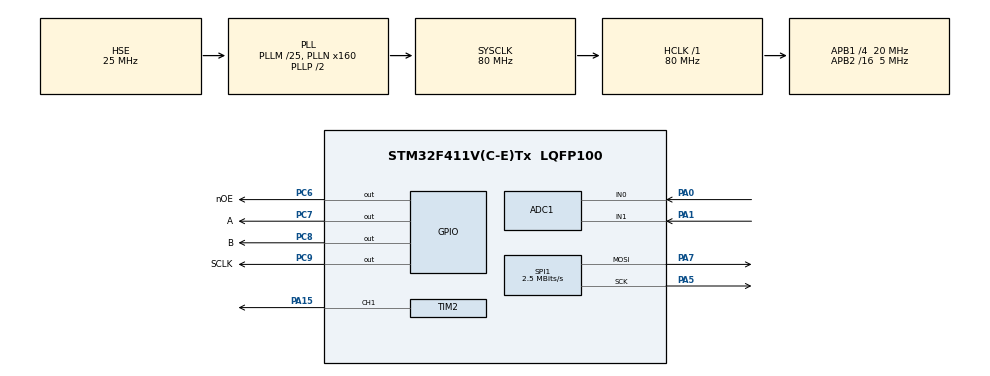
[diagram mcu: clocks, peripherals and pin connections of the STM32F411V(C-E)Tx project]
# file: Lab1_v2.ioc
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ADC1.Channel-2\#ChannelRegularConversion=ADC_CHANNEL_0
ADC1.Channel-4\#ChannelRegularConversion=ADC_CHANNEL_1
ADC1.ContinuousConvMode=DISABLE
ADC1.DMAContinuousRequests=ENABLE
ADC1.InjNumberOfConversion=0
ADC1.NbrOfConversion=2
ADC1.NbrOfConversionFlag=1
ADC1.Rank-2\#ChannelRegularConversion=1
ADC1.Rank-4\#ChannelRegularConversion=2
ADC1.SamplingTime-2\#ChannelRegularConversion=ADC_SAMPLETIME_3CYCLES
ADC1.SamplingTime-4\#ChannelRegularConversion=ADC_SAMPLETIME_3CYCLES
ADC1.ScanConvMode=ENABLE
ADC1.master=1
Dma.ADC1.0.Direction=DMA_PERIPH_TO_MEMORY
Dma.ADC1.0.FIFOMode=DMA_FIFOMODE_DISABLE
Dma.ADC1.0.Instance=DMA2_Stream4
Dma.ADC1.0.MemDataAlignment=DMA_MDATAALIGN_WORD
Dma.ADC1.0.MemInc=DMA_MINC_ENABLE
Dma.ADC1.0.Mode=DMA_CIRCULAR
Dma.ADC1.0.PeriphDataAlignment=DMA_PDATAALIGN_WORD
Dma.ADC1.0.PeriphInc=DMA_PINC_DISABLE
Dma.ADC1.0.Priority=DMA_PRIORITY_LOW
Dma.Request0=ADC1
Mcu.Family=STM32F4
Mcu.Name=STM32F411V(C-E)Tx
Mcu.Package=LQFP100
NVIC.DMA2_Stream4_IRQn=true\:0\:0\:false\:false\:true\:false\:true\:true
NVIC.PriorityGroup=NVIC_PRIORITYGROUP_4
NVIC.TIM2_IRQn=true\:0\:0\:false\:false\:true\:true\:true\:true
PA0-WKUP.Signal=ADCx_IN0
PA1.Signal=ADCx_IN1
PA13.Mode=Serial_Wire
PA13.Signal=SYS_JTMS-SWDIO
PA14.Mode=Serial_Wire
PA14.Signal=SYS_JTCK-SWCLK
PA15.Signal=S_TIM2_CH1_ETR
PA5.Mode=TX_Only_Simplex_Unidirect_Master
PA5.Signal=SPI1_SCK
PA7.Mode=TX_Only_Simplex_Unidirect_Master
PA7.Signal=SPI1_MOSI
PC6.GPIO_Label=nOE
PC6.Signal=GPIO_Output
PC7.GPIO_Label=A
PC7.Signal=GPIO_Output
PC8.GPIO_Label=B
PC8.Signal=GPIO_Output
PC9.GPIO_Label=SCLK
PC9.Signal=GPIO_Output
PH0\ -\ OSC_IN.Mode=HSE-External-Oscillator
PH0\ -\ OSC_IN.Signal=RCC_OSC_IN
PH1\ -\ OSC_OUT.Mode=HSE-External-Oscillator
PH1\ -\ OSC_OUT.Signal=RCC_OSC_OUT
ProjectManager.HeapSize=0x200
ProjectManager.StackSize=0x400
ProjectManager.TargetToolchain=MDK-ARM V5.32
RCC.48MHZClocksFreq_Value=40000000
RCC.AHBFreq_Value=80000000
RCC.APB1CLKDivider=RCC_HCLK_DIV4
RCC.APB1Freq_Value=20000000
RCC.APB1TimFreq_Value=40000000
RCC.APB2CLKDivider=RCC_HCLK_DIV16
RCC.APB2Freq_Value=5000000
RCC.APB2TimFreq_Value=10000000
RCC.CortexFreq_Value=80000000
RCC.HCLKFreq_Value=80000000
RCC.HSE_VALUE=25000000
RCC.HSI_VALUE=16000000
RCC.LSE_VALUE=32768
RCC.PLLM=25
RCC.PLLN=160
RCC.PLLSourceVirtual=RCC_PLLSOURCE_HSE
RCC.SYSCLKFreq_VALUE=80000000
RCC.SYSCLKSource=RCC_SYSCLKSOURCE_PLLCLK
RCC.VCOOutputFreq_Value=160000000
SH.ADCx_IN0.0=ADC1_IN0,IN0
SH.ADCx_IN1.0=ADC1_IN1,IN1
SH.S_TIM2_CH1_ETR.0=TIM2_CH1,PWM Generation1 CH1
SPI1.CalculateBaudRate=2.5 MBits/s
SPI1.Direction=SPI_DIRECTION_2LINES
SPI1.Mode=SPI_MODE_MASTER
SPI1.VirtualType=VM_MASTER
TIM2.Channel-PWM\ Generation1\ CH1=TIM_CHANNEL_1
TIM2.Period=1000-1
TIM2.Prescaler=100-1
VP_TIM2_VS_ClockSourceINT.Mode=Internal
board=custom

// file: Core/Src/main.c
/* USER CODE BEGIN Header */
/**
  ******************************************************************************
  * @file           : main.c
  * @brief          : Main program body
  ******************************************************************************
  * @attention
  *
  * Copyright (c) 2023 STMicroelectronics.
  * All rights reserved.
  *
  * This software is licensed under terms that can be found in the LICENSE file
  * in the root directory of this software component.
  * If no LICENSE file comes with this software, it is provided AS-IS.
  *
  ******************************************************************************
  */
/* USER CODE END Header */
#include "main.h"

/* USER CODE BEGIN Includes */
#include "P10.h"
/* USER CODE END Includes */

/* USER CODE BEGIN PTD */
Pixel pix[20];
uint8_t data1[16], flag;
int8_t rad = 2;
uint32_t joy_data[3] = {0,};
uint32_t joy_x;
uint32_t joy_y;
int8_t count_x = 0, count_y = 0;
/* USER CODE END PTD */

ADC_HandleTypeDef hadc1;
DMA_HandleTypeDef hdma_adc1;

SPI_HandleTypeDef hspi1;

TIM_HandleTypeDef htim2;

void SystemClock_Config(void);
static void MX_GPIO_Init(void);
static void MX_DMA_Init(void);
static void MX_ADC1_Init(void);
static void MX_TIM2_Init(void);
static void MX_SPI1_Init(void);

/* USER CODE BEGIN 0 */
void delay(double_t time_delay)
{
    double_t i;
    for(i = 0; i < time_delay; i++);
}
/* USER CODE END 0 */

int main(void)
{
  /* USER CODE BEGIN 1 */
//	pix[0].x=4;
//	pix[0].y=3;
//	pix[1].x=4;
//	pix[1].y=4;
//	pix[2].x=6;
//	pix[2].y=3;
//	pix[3].x=3;
//	pix[3].y=4;
//	pix[4].x=3;
//	pix[4].y=5;
//	pix[5].x=3;
//	pix[5].y=6;
//	pix[6].x=7;
//	pix[6].y=4;
//	pix[7].x=7;
//	pix[7].y=5;
//	pix[8].x=7;
//	pix[8].y=6;
//	pix[9].x=4;
//	pix[9].y=7;
//	pix[10].x=5;
//	pix[10].y=7;
//	pix[11].x=6;
//	pix[11].y=7;

	pix[12].x=4;
	pix[12].y=4;

	pix[13].x=3;
	pix[13].y=3;
	pix[14].x=4;
	pix[15].y=1;

  /* USER CODE END 1 */

  /* MCU Configuration--------------------------------------------------------*/

  /* Reset of all peripherals, Initializes the Flash interface and the Systick. */
  HAL_Init();

  /* Configure the system clock */
  SystemClock_Config();

  /* Initialize all configured peripherals */
  MX_GPIO_Init();
  MX_DMA_Init();
  MX_ADC1_Init();
  MX_TIM2_Init();
  MX_SPI1_Init();
  /* USER CODE BEGIN 2 */
	HAL_ADC_Start(&hadc1);
	HAL_ADC_Start_DMA(&hadc1, (uint32_t*)&joy_data, 2);
	HAL_TIM_Base_Start_IT(&htim2);
//	HAL_TIM_PWM_Start(&htim2, TIM_CHANNEL_1);
  /* USER CODE END 2 */

  /* Infinite loop */
  /* USER CODE BEGIN WHILE */
  while (1)
  {
		clearScreen((uint8_t*)&data1);
		drawPixel(pix[13],(uint8_t*)&data1,P10AB_00);
		HAL_GPIO_WritePin(nOE_GPIO_Port, nOE_Pin, GPIO_PIN_RESET);
		HAL_GPIO_WritePin(A_GPIO_Port, A_Pin, GPIO_PIN_RESET);
		HAL_GPIO_WritePin(B_GPIO_Port, B_Pin, GPIO_PIN_RESET);
		HAL_GPIO_WritePin(SCLK_GPIO_Port, SCLK_Pin, GPIO_PIN_RESET);
		HAL_SPI_Transmit(&hspi1, (uint8_t*)&data1, 16, 10);
		HAL_GPIO_WritePin(SCLK_GPIO_Port, SCLK_Pin, GPIO_PIN_SET);
		HAL_GPIO_WritePin(nOE_GPIO_Port, nOE_Pin, GPIO_PIN_SET);
		HAL_Delay(1);

		clearScreen((uint8_t*)&data1);
		drawPixel(pix[13],(uint8_t*)&data1,P10AB_10);
		HAL_GPIO_WritePin(nOE_GPIO_Port, nOE_Pin, GPIO_PIN_RESET);
		HAL_GPIO_WritePin(A_GPIO_Port, A_Pin, GPIO_PIN_RESET);
		HAL_GPIO_WritePin(B_GPIO_Port, B_Pin, GPIO_PIN_SET);
		HAL_GPIO_WritePin(SCLK_GPIO_Port, SCLK_Pin, GPIO_PIN_RESET);
		HAL_SPI_Transmit(&hspi1, (uint8_t*)&data1, 16, 10);
		HAL_GPIO_WritePin(SCLK_GPIO_Port, SCLK_Pin, GPIO_PIN_SET);
		HAL_GPIO_WritePin(nOE_GPIO_Port, nOE_Pin, GPIO_PIN_SET);
		HAL_Delay(1);

		clearScreen((uint8_t*)&data1);
		drawPixel(pix[13],(uint8_t*)&data1,P10AB_01);
		HAL_GPIO_WritePin(nOE_GPIO_Port, nOE_Pin, GPIO_PIN_RESET);
		HAL_GPIO_WritePin(A_GPIO_Port, A_Pin, GPIO_PIN_SET);
		HAL_GPIO_WritePin(B_GPIO_Port, B_Pin, GPIO_PIN_RESET);
		HAL_GPIO_WritePin(SCLK_GPIO_Port, SCLK_Pin, GPIO_PIN_RESET);
		HAL_SPI_Transmit(&hspi1, (uint8_t*)&data1, 16, 10);
		HAL_GPIO_WritePin(SCLK_GPIO_Port, SCLK_Pin, GPIO_PIN_SET);
		HAL_GPIO_WritePin(nOE_GPIO_Port, nOE_Pin, GPIO_PIN_SET);
		HAL_Delay(1);

		clearScreen((uint8_t*)&data1);
		drawPixel(pix[13],(uint8_t*)&data1,P10AB_11);
		HAL_GPIO_WritePin(nOE_GPIO_Port, nOE_Pin, GPIO_PIN_RESET);
		HAL_GPIO_WritePin(A_GPIO_Port, A_Pin, GPIO_PIN_SET);
		HAL_GPIO_WritePin(B_GPIO_Port, B_Pin, GPIO_PIN_SET);
		HAL_GPIO_WritePin(SCLK_GPIO_Port, SCLK_Pin, GPIO_PIN_RESET);
		HAL_SPI_Transmit(&hspi1, (uint8_t*)&data1, 16, 10);
		HAL_GPIO_WritePin(SCLK_GPIO_Port, SCLK_Pin, GPIO_PIN_SET);
		HAL_GPIO_WritePin(nOE_GPIO_Port, nOE_Pin, GPIO_PIN_SET);
		HAL_Delay(1);

		if (joy_x>=4000) count_x += 1;
		if (joy_x<=800) count_x -=1;

		if (joy_y>=4000) count_y += 1;
		if (joy_y<=800) count_y -=1;

		if (count_x > 10)
		{
				pix[13].x += 1;
				count_x = 0;
		}

		if (count_x < -10)
		{
				pix[13].x -= 1;
				count_x = 0;
		}

		if (count_y > 10)
		{
				pix[13].y += 1;
				count_y = 0;
		}

		if (count_y < -10)
		{
				pix[13].y -= 1;
				count_y = 0;
		}

		if (pix[13].x > 32) pix[13].x = 1;
		if (pix[13].x < 1) pix[13].x = 32;
		if (pix[13].y > 16) pix[13].y = 1;
		if (pix[13].y < 1) pix[13].y = 16;

		if(flag)
		{
				flag = 0;
				HAL_ADC_Stop_DMA(&hadc1);
				joy_x = joy_data[0];
				joy_y = joy_data[1];
				joy_data[0] = 0;
				joy_data[1] = 0;
				HAL_ADC_Start_DMA(&hadc1, (uint32_t*)&joy_data, 2);
		}

    /* USER CODE END WHILE */

  }
}

void SystemClock_Config(void)
{
  RCC_OscInitTypeDef RCC_OscInitStruct = {0};
  RCC_ClkInitTypeDef RCC_ClkInitStruct = {0};

  /** Configure the main internal regulator output voltage
  */
  __HAL_RCC_PWR_CLK_ENABLE();
  __HAL_PWR_VOLTAGESCALING_CONFIG(PWR_REGULATOR_VOLTAGE_SCALE1);

  /** Initializes the RCC Oscillators according to the specified parameters
  * in the RCC_OscInitTypeDef structure.
  */
  RCC_OscInitStruct.OscillatorType = RCC_OSCILLATORTYPE_HSE;
  RCC_OscInitStruct.HSEState = RCC_HSE_ON;
  RCC_OscInitStruct.PLL.PLLState = RCC_PLL_ON;
  RCC_OscInitStruct.PLL.PLLSource = RCC_PLLSOURCE_HSE;
  RCC_OscInitStruct.PLL.PLLM = 25;
  RCC_OscInitStruct.PLL.PLLN = 160;
  RCC_OscInitStruct.PLL.PLLP = RCC_PLLP_DIV2;
  RCC_OscInitStruct.PLL.PLLQ = 4;
  if (HAL_RCC_OscConfig(&RCC_OscInitStruct) != HAL_OK)
  {
    Error_Handler();
  }

  /** Initializes the CPU, AHB and APB buses clocks
  */
  RCC_ClkInitStruct.ClockType = RCC_CLOCKTYPE_HCLK|RCC_CLOCKTYPE_SYSCLK
                              |RCC_CLOCKTYPE_PCLK1|RCC_CLOCKTYPE_PCLK2;
  RCC_ClkInitStruct.SYSCLKSource = RCC_SYSCLKSOURCE_PLLCLK;
  RCC_ClkInitStruct.AHBCLKDivider = RCC_SYSCLK_DIV1;
  RCC_ClkInitStruct.APB1CLKDivider = RCC_HCLK_DIV4;
  RCC_ClkInitStruct.APB2CLKDivider = RCC_HCLK_DIV16;

  if (HAL_RCC_ClockConfig(&RCC_ClkInitStruct, FLASH_LATENCY_2) != HAL_OK)
  {
    Error_Handler();
  }
}

static void MX_ADC1_Init(void)
{

  ADC_ChannelConfTypeDef sConfig = {0};

  /** Configure the global features of the ADC (Clock, Resolution, Data Alignment and number of conversion)
  */
  hadc1.Instance = ADC1;
  hadc1.Init.ClockPrescaler = ADC_CLOCK_SYNC_PCLK_DIV2;
  hadc1.Init.Resolution = ADC_RESOLUTION_12B;
  hadc1.Init.ScanConvMode = ENABLE;
  hadc1.Init.ContinuousConvMode = DISABLE;
  hadc1.Init.DiscontinuousConvMode = DISABLE;
  hadc1.Init.ExternalTrigConvEdge = ADC_EXTERNALTRIGCONVEDGE_NONE;
  hadc1.Init.ExternalTrigConv = ADC_SOFTWARE_START;
  hadc1.Init.DataAlign = ADC_DATAALIGN_RIGHT;
  hadc1.Init.NbrOfConversion = 2;
  hadc1.Init.DMAContinuousRequests = ENABLE;
  hadc1.Init.EOCSelection = ADC_EOC_SINGLE_CONV;
  if (HAL_ADC_Init(&hadc1) != HAL_OK)
  {
    Error_Handler();
  }

  /** Configure for the selected ADC regular channel its corresponding rank in the sequencer and its sample time.
  */
  sConfig.Channel = ADC_CHANNEL_0;
  sConfig.Rank = 1;
  sConfig.SamplingTime = ADC_SAMPLETIME_3CYCLES;
  if (HAL_ADC_ConfigChannel(&hadc1, &sConfig) != HAL_OK)
  {
    Error_Handler();
  }

  /** Configure for the selected ADC regular channel its corresponding rank in the sequencer and its sample time.
  */
  sConfig.Channel = ADC_CHANNEL_1;
  sConfig.Rank = 2;
  if (HAL_ADC_ConfigChannel(&hadc1, &sConfig) != HAL_OK)
  {
    Error_Handler();
  }

}

static void MX_SPI1_Init(void)
{

  /* SPI1 parameter configuration*/
  hspi1.Instance = SPI1;
  hspi1.Init.Mode = SPI_MODE_MASTER;
  hspi1.Init.Direction = SPI_DIRECTION_2LINES;
  hspi1.Init.DataSize = SPI_DATASIZE_8BIT;
  hspi1.Init.CLKPolarity = SPI_POLARITY_LOW;
  hspi1.Init.CLKPhase = SPI_PHASE_1EDGE;
  hspi1.Init.NSS = SPI_NSS_SOFT;
  hspi1.Init.BaudRatePrescaler = SPI_BAUDRATEPRESCALER_2;
  hspi1.Init.FirstBit = SPI_FIRSTBIT_MSB;
  hspi1.Init.TIMode = SPI_TIMODE_DISABLE;
  hspi1.Init.CRCCalculation = SPI_CRCCALCULATION_DISABLE;
  hspi1.Init.CRCPolynomial = 10;
  if (HAL_SPI_Init(&hspi1) != HAL_OK)
  {
    Error_Handler();
  }

}

static void MX_TIM2_Init(void)
{

  TIM_ClockConfigTypeDef sClockSourceConfig = {0};
  TIM_MasterConfigTypeDef sMasterConfig = {0};
  TIM_OC_InitTypeDef sConfigOC = {0};

  htim2.Instance = TIM2;
  htim2.Init.Prescaler = 100-1;
  htim2.Init.CounterMode = TIM_COUNTERMODE_UP;
  htim2.Init.Period = 1000-1;
  htim2.Init.ClockDivision = TIM_CLOCKDIVISION_DIV1;
  htim2.Init.AutoReloadPreload = TIM_AUTORELOAD_PRELOAD_DISABLE;
  if (HAL_TIM_Base_Init(&htim2) != HAL_OK)
  {
    Error_Handler();
  }
  sClockSourceConfig.ClockSource = TIM_CLOCKSOURCE_INTERNAL;
  if (HAL_TIM_ConfigClockSource(&htim2, &sClockSourceConfig) != HAL_OK)
  {
    Error_Handler();
  }
  if (HAL_TIM_PWM_Init(&htim2) != HAL_OK)
  {
    Error_Handler();
  }
  sMasterConfig.MasterOutputTrigger = TIM_TRGO_RESET;
  sMasterConfig.MasterSlaveMode = TIM_MASTERSLAVEMODE_DISABLE;
  if (HAL_TIMEx_MasterConfigSynchronization(&htim2, &sMasterConfig) != HAL_OK)
  {
    Error_Handler();
  }
  sConfigOC.OCMode = TIM_OCMODE_PWM1;
  sConfigOC.Pulse = 0;
  sConfigOC.OCPolarity = TIM_OCPOLARITY_HIGH;
  sConfigOC.OCFastMode = TIM_OCFAST_DISABLE;
  if (HAL_TIM_PWM_ConfigChannel(&htim2, &sConfigOC, TIM_CHANNEL_1) != HAL_OK)
  {
    Error_Handler();
  }
  HAL_TIM_MspPostInit(&htim2);

}

static void MX_DMA_Init(void)
{

  /* DMA controller clock enable */
  __HAL_RCC_DMA2_CLK_ENABLE();

  /* DMA interrupt init */
  /* DMA2_Stream4_IRQn interrupt configuration */
  HAL_NVIC_SetPriority(DMA2_Stream4_IRQn, 0, 0);
  HAL_NVIC_EnableIRQ(DMA2_Stream4_IRQn);

}

static void MX_GPIO_Init(void)
{
  GPIO_InitTypeDef GPIO_InitStruct = {0};

  /* GPIO Ports Clock Enable */
  __HAL_RCC_GPIOH_CLK_ENABLE();
  __HAL_RCC_GPIOA_CLK_ENABLE();
  __HAL_RCC_GPIOC_CLK_ENABLE();

  /*Configure GPIO pin Output Level */
  HAL_GPIO_WritePin(GPIOC, nOE_Pin|A_Pin|B_Pin|SCLK_Pin, GPIO_PIN_RESET);

  /*Configure GPIO pins : nOE_Pin A_Pin B_Pin SCLK_Pin */
  GPIO_InitStruct.Pin = nOE_Pin|A_Pin|B_Pin|SCLK_Pin;
  GPIO_InitStruct.Mode = GPIO_MODE_OUTPUT_PP;
  GPIO_InitStruct.Pull = GPIO_NOPULL;
  GPIO_InitStruct.Speed = GPIO_SPEED_FREQ_LOW;
  HAL_GPIO_Init(GPIOC, &GPIO_InitStruct);

}

void Error_Handler(void)
{
  __disable_irq();
  while (1)
  {
  }
}
